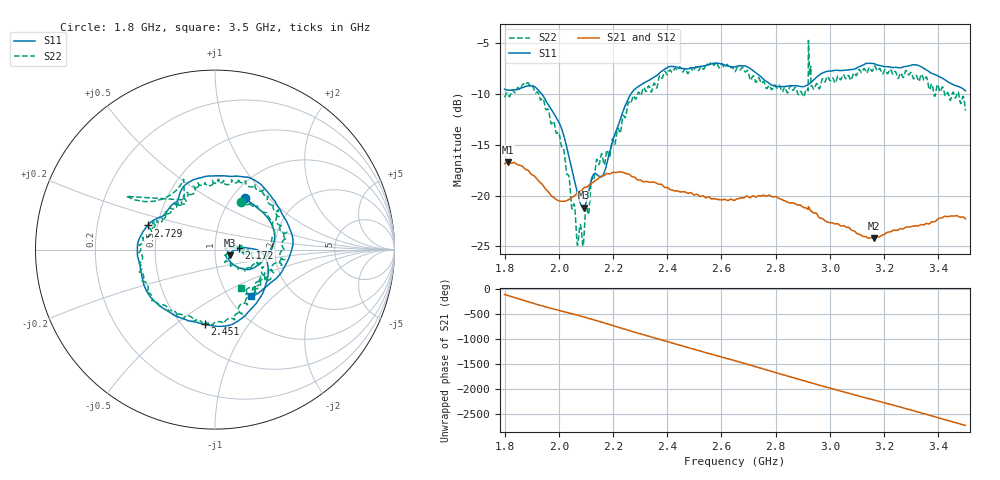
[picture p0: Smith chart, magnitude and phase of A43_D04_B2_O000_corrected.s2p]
! Created with skrf 1.9.0 (http://scikit-rf.org).
# Hz S RI R 50.0
!freq ReS11 ImS11 ReS21 ImS21 ReS12 ImS12 ReS22 ImS22
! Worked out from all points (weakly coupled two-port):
!   1601 points, 1.8 GHz to 3.5 GHz, reference 50 ohm
!   highest |S21| = -16.75 dB at 1.812 GHz (marker M1); lowest = -24.2 dB at 3.162 GHz (marker M2)
!   lowest |S11| = -21.2 dB at 2.091 GHz (marker M3), VSWR 1.19, Z = 58.7 - j3.72 ohm
!   |S11| at or under -10 dB: 1.936 GHz to 2.267 GHz (330.9 MHz wide, 15.7 % of centre)
!   |S22| runs from -25.0 to -4.8 dB; largest |S21 - S12| = 0.0024
!   S11 on the Smith chart (normalised r, x): 1.8 GHz: 1.14, +0.74; 2.172 GHz: 1.31, +0.03; 2.451 GHz: 0.64, -0.64; 2.729 GHz: 0.44, +0.14; 3.5 GHz: 1.26, -0.73
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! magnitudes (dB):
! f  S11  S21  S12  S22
! 1.8 GHz  -9.6  -16.9  -16.9  -10.4
! 1.812 GHz  -9.7  -16.8  -16.7  -10.0
! 1.885 GHz  -9.3  -17.5  -17.5  -8.9
! 1.942 GHz  -10.2  -19.0  -19.0  -10.5
! 2.008 GHz  -13.3  -20.6  -20.5  -15.0
! 2.067 GHz  -19.6  -19.8  -19.8  -24.5
! 2.084 GHz  -21.0  -19.5  -19.5  -23.5
! 2.091 GHz  -21.2  -19.3  -19.3  -24.7
! 2.137 GHz  -17.8  -18.5  -18.5  -16.8
! 2.172 GHz  -17.4  -17.9  -18.0  -16.4
! 2.262 GHz  -10.2  -18.0  -18.0  -10.9
! 2.367 GHz  -8.1  -18.9  -18.8  -8.7
! 2.451 GHz  -7.5  -19.6  -19.6  -7.6
! 2.65 GHz  -7.4  -20.4  -20.4  -7.8
! 2.729 GHz  -8.0  -20.2  -20.2  -8.9
! 2.9 GHz  -9.3  -21.1  -21.1  -10.2
! 2.921 GHz  -9.1  -21.1  -21.1  -4.8
! 2.934 GHz  -8.8  -21.6  -21.5  -9.2
! 3.162 GHz  -7.1  -24.2  -24.1  -7.4
! 3.217 GHz  -7.4  -23.6  -23.5  -7.8
! 3.326 GHz  -7.2  -23.0  -22.9  -8.7
! 3.5 GHz  -9.7  -22.3  -22.3  -11.7
